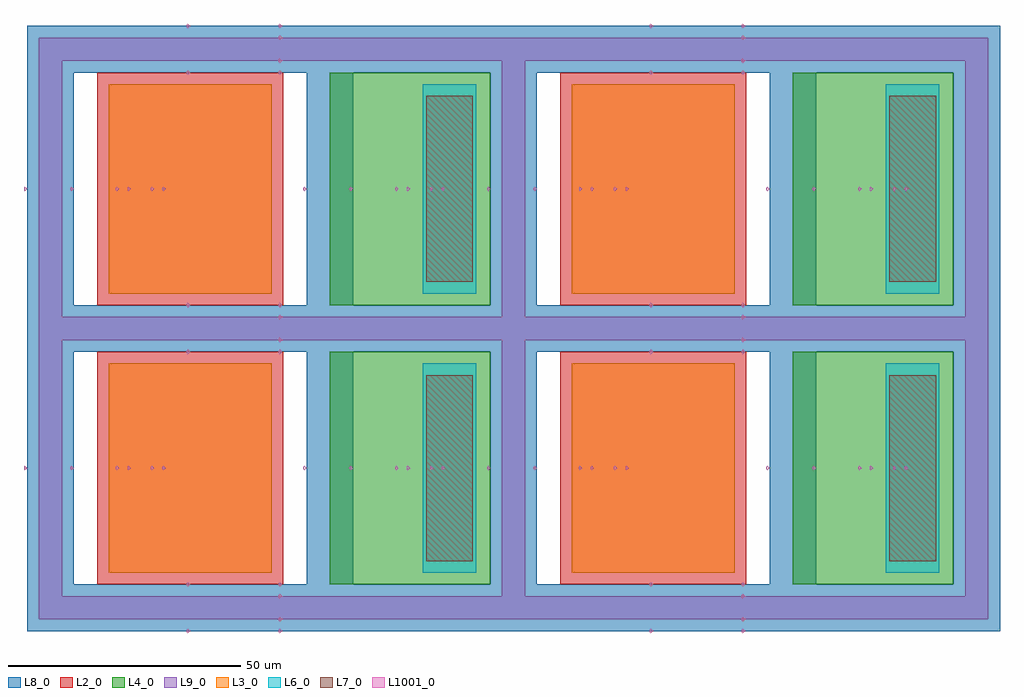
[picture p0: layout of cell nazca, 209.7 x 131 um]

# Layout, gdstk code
import gdstk
lib = gdstk.Library(unit=1e-6, precision=1e-09)
def R(c, l, rs):  # rectangles x0, y0, x1, y1
    for r in rs: c.add(gdstk.rectangle(r[:2], r[2:], *l))
def P(c, l, *ps):  # polygons
    for p in ps: c.add(gdstk.Polygon(p, *l))
L2_0 = (2, 0)
L3_0 = (3, 0)
L4_0 = (4, 0)
L6_0 = (6, 0)
L7_0 = (7, 0)
L8_0 = (8, 0)
L9_0 = (9, 0)
L1001_0 = (1001, 0)

frame_tile = lib.new_cell('Frame Tile')
P(frame_tile, L8_0, [(-25,-25),(-35,-35),(-35,35),(35,35),(35,-35),(-35,-35),(-25,-25),(25,-25),(25,25),(-25,25)])
P(frame_tile, L1001_0, [(0,25),(-0.5,24.5),(-0.5,24.75),(-0.7,24.75),(-0.7,25.25),(-0.5,25.25),(-0.5,25.5)],
  [(0,-25),(-0.5,-25.5),(-0.5,-25.25),(-0.7,-25.25),(-0.7,-24.75),(-0.5,-24.75),(-0.5,-24.5)],
  [(-25,0),(-25.5,-0.5),(-25.5,-0.25),(-25.7,-0.25),(-25.7,0.25),(-25.5,0.25),(-25.5,0.5)],
  [(25,0),(24.5,-0.5),(24.5,-0.25),(24.3,-0.25),(24.3,0.25),(24.5,0.25),(24.5,0.5)],
  [(0,35),(-0.5,34.5),(-0.5,34.75),(-0.7,34.75),(-0.7,35.25),(-0.5,35.25),(-0.5,35.5)],
  [(0,-35),(-0.5,-35.5),(-0.5,-35.25),(-0.7,-35.25),(-0.7,-34.75),(-0.5,-34.75),(-0.5,-34.5)],
  [(-35,0),(-35.5,-0.5),(-35.5,-0.25),(-35.7,-0.25),(-35.7,0.25),(-35.5,0.25),(-35.5,0.5)],
  [(35,0),(34.5,-0.5),(34.5,-0.25),(34.3,-0.25),(34.3,0.25),(34.5,0.25),(34.5,0.5)])
frame_tile.add(gdstk.Label('Frame Right External Pin', (34.7,0), layer=1002, texttype=0))
frame_tile.add(gdstk.Label('Frame Left External Pin', (-35.3,0), layer=1002, texttype=0))
frame_tile.add(gdstk.Label('Frame Bot External Pin', (-0.3,-35), layer=1002, texttype=0))
frame_tile.add(gdstk.Label('Frame Top External Pin', (-0.3,35), layer=1002, texttype=0))
frame_tile.add(gdstk.Label('Frame Right Internal Pin', (24.7,0), layer=1002, texttype=0))
frame_tile.add(gdstk.Label('Frame Left Internal Pin', (-25.3,0), layer=1002, texttype=0))
frame_tile.add(gdstk.Label('Frame Bot Internal Pin', (-0.3,-25), layer=1002, texttype=0))
frame_tile.add(gdstk.Label('Frame Top Internal Pin', (-0.3,25), layer=1002, texttype=0))

frame_tile_10 = lib.new_cell('Frame Tile_10')
P(frame_tile_10, L8_0, [(-44.75,-25),(-54.75,-35),(-54.75,35),(54.75,35),(54.75,-35),(-54.75,-35),(-44.75,-25),(44.75,-25),(44.75,25),(-44.75,25)])
P(frame_tile_10, L1001_0, [(0,25),(-0.5,24.5),(-0.5,24.75),(-0.7,24.75),(-0.7,25.25),(-0.5,25.25),(-0.5,25.5)],
  [(0,-25),(-0.5,-25.5),(-0.5,-25.25),(-0.7,-25.25),(-0.7,-24.75),(-0.5,-24.75),(-0.5,-24.5)],
  [(-25,0),(-25.5,-0.5),(-25.5,-0.25),(-25.7,-0.25),(-25.7,0.25),(-25.5,0.25),(-25.5,0.5)],
  [(25,0),(24.5,-0.5),(24.5,-0.25),(24.3,-0.25),(24.3,0.25),(24.5,0.25),(24.5,0.5)],
  [(0,35),(-0.5,34.5),(-0.5,34.75),(-0.7,34.75),(-0.7,35.25),(-0.5,35.25),(-0.5,35.5)],
  [(0,-35),(-0.5,-35.5),(-0.5,-35.25),(-0.7,-35.25),(-0.7,-34.75),(-0.5,-34.75),(-0.5,-34.5)],
  [(-35,0),(-35.5,-0.5),(-35.5,-0.25),(-35.7,-0.25),(-35.7,0.25),(-35.5,0.25),(-35.5,0.5)],
  [(35,0),(34.5,-0.5),(34.5,-0.25),(34.3,-0.25),(34.3,0.25),(34.5,0.25),(34.5,0.5)])
frame_tile_10.add(gdstk.Label('Frame Right External Pin', (34.7,0), layer=1002, texttype=0))
frame_tile_10.add(gdstk.Label('Frame Left External Pin', (-35.3,0), layer=1002, texttype=0))
frame_tile_10.add(gdstk.Label('Frame Bot External Pin', (-0.3,-35), layer=1002, texttype=0))
frame_tile_10.add(gdstk.Label('Frame Top External Pin', (-0.3,35), layer=1002, texttype=0))
frame_tile_10.add(gdstk.Label('Frame Right Internal Pin', (24.7,0), layer=1002, texttype=0))
frame_tile_10.add(gdstk.Label('Frame Left Internal Pin', (-25.3,0), layer=1002, texttype=0))
frame_tile_10.add(gdstk.Label('Frame Bot Internal Pin', (-0.3,-25), layer=1002, texttype=0))
frame_tile_10.add(gdstk.Label('Frame Top Internal Pin', (-0.3,25), layer=1002, texttype=0))

frame_tile_11 = lib.new_cell('Frame Tile_11')
P(frame_tile_11, L9_0, [(-47.25,-27.5),(-52.25,-32.5),(-52.25,32.5),(52.25,32.5),(52.25,-32.5),(-52.25,-32.5),(-47.25,-27.5),(47.25,-27.5),(47.25,27.5),(-47.25,27.5)])
P(frame_tile_11, L1001_0, [(0,27.5),(-0.5,27),(-0.5,27.25),(-0.7,27.25),(-0.7,27.75),(-0.5,27.75),(-0.5,28)],
  [(0,-27.5),(-0.5,-28),(-0.5,-27.75),(-0.7,-27.75),(-0.7,-27.25),(-0.5,-27.25),(-0.5,-27)],
  [(-27.5,0),(-28,-0.5),(-28,-0.25),(-28.2,-0.25),(-28.2,0.25),(-28,0.25),(-28,0.5)],
  [(27.5,0),(27,-0.5),(27,-0.25),(26.8,-0.25),(26.8,0.25),(27,0.25),(27,0.5)],
  [(0,32.5),(-0.5,32),(-0.5,32.25),(-0.7,32.25),(-0.7,32.75),(-0.5,32.75),(-0.5,33)],
  [(0,-32.5),(-0.5,-33),(-0.5,-32.75),(-0.7,-32.75),(-0.7,-32.25),(-0.5,-32.25),(-0.5,-32)],
  [(-32.5,0),(-33,-0.5),(-33,-0.25),(-33.2,-0.25),(-33.2,0.25),(-33,0.25),(-33,0.5)],
  [(32.5,0),(32,-0.5),(32,-0.25),(31.8,-0.25),(31.8,0.25),(32,0.25),(32,0.5)])
frame_tile_11.add(gdstk.Label('Frame Right External Pin', (32.2,0), layer=1002, texttype=0))
frame_tile_11.add(gdstk.Label('Frame Left External Pin', (-32.8,0), layer=1002, texttype=0))
frame_tile_11.add(gdstk.Label('Frame Bot External Pin', (-0.3,-32.5), layer=1002, texttype=0))
frame_tile_11.add(gdstk.Label('Frame Top External Pin', (-0.3,32.5), layer=1002, texttype=0))
frame_tile_11.add(gdstk.Label('Frame Right Internal Pin', (27.2,0), layer=1002, texttype=0))
frame_tile_11.add(gdstk.Label('Frame Left Internal Pin', (-27.8,0), layer=1002, texttype=0))
frame_tile_11.add(gdstk.Label('Frame Bot Internal Pin', (-0.3,-27.5), layer=1002, texttype=0))
frame_tile_11.add(gdstk.Label('Frame Top Internal Pin', (-0.3,27.5), layer=1002, texttype=0))

one_device = lib.new_cell('One Device')
R(one_device, L2_0, [(-20,-25,20,25)])
R(one_device, L3_0, [(-17.5,-22.5,17.5,22.5)])
R(one_device, L4_0, [(30,-25,64.5,25)])
R(one_device, L6_0, [(50,-22.5,61.5,22.5)])
R(one_device, L7_0, [(50.75,-20,60.75,20)])
one_device.add(gdstk.Reference(frame_tile, (0,0)))
one_device.add(gdstk.Reference(frame_tile_10, (19.75,0)))
one_device.add(gdstk.Reference(frame_tile_11, (19.75,0)))

frame_tile_13 = lib.new_cell('Frame Tile_13')
P(frame_tile_13, L8_0, [(-25,-25),(-35,-35),(-35,35),(35,35),(35,-35),(-35,-35),(-25,-25),(25,-25),(25,25),(-25,25)])
P(frame_tile_13, L1001_0, [(0,25),(-0.5,24.5),(-0.5,24.75),(-0.7,24.75),(-0.7,25.25),(-0.5,25.25),(-0.5,25.5)],
  [(0,-25),(-0.5,-25.5),(-0.5,-25.25),(-0.7,-25.25),(-0.7,-24.75),(-0.5,-24.75),(-0.5,-24.5)],
  [(-25,0),(-25.5,-0.5),(-25.5,-0.25),(-25.7,-0.25),(-25.7,0.25),(-25.5,0.25),(-25.5,0.5)],
  [(25,0),(24.5,-0.5),(24.5,-0.25),(24.3,-0.25),(24.3,0.25),(24.5,0.25),(24.5,0.5)],
  [(0,35),(-0.5,34.5),(-0.5,34.75),(-0.7,34.75),(-0.7,35.25),(-0.5,35.25),(-0.5,35.5)],
  [(0,-35),(-0.5,-35.5),(-0.5,-35.25),(-0.7,-35.25),(-0.7,-34.75),(-0.5,-34.75),(-0.5,-34.5)],
  [(-35,0),(-35.5,-0.5),(-35.5,-0.25),(-35.7,-0.25),(-35.7,0.25),(-35.5,0.25),(-35.5,0.5)],
  [(35,0),(34.5,-0.5),(34.5,-0.25),(34.3,-0.25),(34.3,0.25),(34.5,0.25),(34.5,0.5)])
frame_tile_13.add(gdstk.Label('Frame Right External Pin', (34.7,0), layer=1002, texttype=0))
frame_tile_13.add(gdstk.Label('Frame Left External Pin', (-35.3,0), layer=1002, texttype=0))
frame_tile_13.add(gdstk.Label('Frame Bot External Pin', (-0.3,-35), layer=1002, texttype=0))
frame_tile_13.add(gdstk.Label('Frame Top External Pin', (-0.3,35), layer=1002, texttype=0))
frame_tile_13.add(gdstk.Label('Frame Right Internal Pin', (24.7,0), layer=1002, texttype=0))
frame_tile_13.add(gdstk.Label('Frame Left Internal Pin', (-25.3,0), layer=1002, texttype=0))
frame_tile_13.add(gdstk.Label('Frame Bot Internal Pin', (-0.3,-25), layer=1002, texttype=0))
frame_tile_13.add(gdstk.Label('Frame Top Internal Pin', (-0.3,25), layer=1002, texttype=0))

frame_tile_19 = lib.new_cell('Frame Tile_19')
P(frame_tile_19, L8_0, [(-44.75,-25),(-54.75,-35),(-54.75,35),(54.75,35),(54.75,-35),(-54.75,-35),(-44.75,-25),(44.75,-25),(44.75,25),(-44.75,25)])
P(frame_tile_19, L1001_0, [(0,25),(-0.5,24.5),(-0.5,24.75),(-0.7,24.75),(-0.7,25.25),(-0.5,25.25),(-0.5,25.5)],
  [(0,-25),(-0.5,-25.5),(-0.5,-25.25),(-0.7,-25.25),(-0.7,-24.75),(-0.5,-24.75),(-0.5,-24.5)],
  [(-25,0),(-25.5,-0.5),(-25.5,-0.25),(-25.7,-0.25),(-25.7,0.25),(-25.5,0.25),(-25.5,0.5)],
  [(25,0),(24.5,-0.5),(24.5,-0.25),(24.3,-0.25),(24.3,0.25),(24.5,0.25),(24.5,0.5)],
  [(0,35),(-0.5,34.5),(-0.5,34.75),(-0.7,34.75),(-0.7,35.25),(-0.5,35.25),(-0.5,35.5)],
  [(0,-35),(-0.5,-35.5),(-0.5,-35.25),(-0.7,-35.25),(-0.7,-34.75),(-0.5,-34.75),(-0.5,-34.5)],
  [(-35,0),(-35.5,-0.5),(-35.5,-0.25),(-35.7,-0.25),(-35.7,0.25),(-35.5,0.25),(-35.5,0.5)],
  [(35,0),(34.5,-0.5),(34.5,-0.25),(34.3,-0.25),(34.3,0.25),(34.5,0.25),(34.5,0.5)])
frame_tile_19.add(gdstk.Label('Frame Right External Pin', (34.7,0), layer=1002, texttype=0))
frame_tile_19.add(gdstk.Label('Frame Left External Pin', (-35.3,0), layer=1002, texttype=0))
frame_tile_19.add(gdstk.Label('Frame Bot External Pin', (-0.3,-35), layer=1002, texttype=0))
frame_tile_19.add(gdstk.Label('Frame Top External Pin', (-0.3,35), layer=1002, texttype=0))
frame_tile_19.add(gdstk.Label('Frame Right Internal Pin', (24.7,0), layer=1002, texttype=0))
frame_tile_19.add(gdstk.Label('Frame Left Internal Pin', (-25.3,0), layer=1002, texttype=0))
frame_tile_19.add(gdstk.Label('Frame Bot Internal Pin', (-0.3,-25), layer=1002, texttype=0))
frame_tile_19.add(gdstk.Label('Frame Top Internal Pin', (-0.3,25), layer=1002, texttype=0))

frame_tile_20 = lib.new_cell('Frame Tile_20')
P(frame_tile_20, L9_0, [(-47.25,-27.5),(-52.25,-32.5),(-52.25,32.5),(52.25,32.5),(52.25,-32.5),(-52.25,-32.5),(-47.25,-27.5),(47.25,-27.5),(47.25,27.5),(-47.25,27.5)])
P(frame_tile_20, L1001_0, [(0,27.5),(-0.5,27),(-0.5,27.25),(-0.7,27.25),(-0.7,27.75),(-0.5,27.75),(-0.5,28)],
  [(0,-27.5),(-0.5,-28),(-0.5,-27.75),(-0.7,-27.75),(-0.7,-27.25),(-0.5,-27.25),(-0.5,-27)],
  [(-27.5,0),(-28,-0.5),(-28,-0.25),(-28.2,-0.25),(-28.2,0.25),(-28,0.25),(-28,0.5)],
  [(27.5,0),(27,-0.5),(27,-0.25),(26.8,-0.25),(26.8,0.25),(27,0.25),(27,0.5)],
  [(0,32.5),(-0.5,32),(-0.5,32.25),(-0.7,32.25),(-0.7,32.75),(-0.5,32.75),(-0.5,33)],
  [(0,-32.5),(-0.5,-33),(-0.5,-32.75),(-0.7,-32.75),(-0.7,-32.25),(-0.5,-32.25),(-0.5,-32)],
  [(-32.5,0),(-33,-0.5),(-33,-0.25),(-33.2,-0.25),(-33.2,0.25),(-33,0.25),(-33,0.5)],
  [(32.5,0),(32,-0.5),(32,-0.25),(31.8,-0.25),(31.8,0.25),(32,0.25),(32,0.5)])
frame_tile_20.add(gdstk.Label('Frame Right External Pin', (32.2,0), layer=1002, texttype=0))
frame_tile_20.add(gdstk.Label('Frame Left External Pin', (-32.8,0), layer=1002, texttype=0))
frame_tile_20.add(gdstk.Label('Frame Bot External Pin', (-0.3,-32.5), layer=1002, texttype=0))
frame_tile_20.add(gdstk.Label('Frame Top External Pin', (-0.3,32.5), layer=1002, texttype=0))
frame_tile_20.add(gdstk.Label('Frame Right Internal Pin', (27.2,0), layer=1002, texttype=0))
frame_tile_20.add(gdstk.Label('Frame Left Internal Pin', (-27.8,0), layer=1002, texttype=0))
frame_tile_20.add(gdstk.Label('Frame Bot Internal Pin', (-0.3,-27.5), layer=1002, texttype=0))
frame_tile_20.add(gdstk.Label('Frame Top Internal Pin', (-0.3,27.5), layer=1002, texttype=0))

one_device_12 = lib.new_cell('One Device_12')
R(one_device_12, L2_0, [(-20,-25,20,25)])
R(one_device_12, L3_0, [(-17.5,-22.5,17.5,22.5)])
R(one_device_12, L4_0, [(30,-25,64.5,25)])
R(one_device_12, L6_0, [(50,-22.5,61.5,22.5)])
R(one_device_12, L7_0, [(50.75,-20,60.75,20)])
one_device_12.add(gdstk.Reference(frame_tile_13, (0,0)))
one_device_12.add(gdstk.Reference(frame_tile_19, (19.75,0)))
one_device_12.add(gdstk.Reference(frame_tile_20, (19.75,0)))

frame_tile_22 = lib.new_cell('Frame Tile_22')
P(frame_tile_22, L8_0, [(-25,-25),(-35,-35),(-35,35),(35,35),(35,-35),(-35,-35),(-25,-25),(25,-25),(25,25),(-25,25)])
P(frame_tile_22, L1001_0, [(0,25),(-0.5,24.5),(-0.5,24.75),(-0.7,24.75),(-0.7,25.25),(-0.5,25.25),(-0.5,25.5)],
  [(0,-25),(-0.5,-25.5),(-0.5,-25.25),(-0.7,-25.25),(-0.7,-24.75),(-0.5,-24.75),(-0.5,-24.5)],
  [(-25,0),(-25.5,-0.5),(-25.5,-0.25),(-25.7,-0.25),(-25.7,0.25),(-25.5,0.25),(-25.5,0.5)],
  [(25,0),(24.5,-0.5),(24.5,-0.25),(24.3,-0.25),(24.3,0.25),(24.5,0.25),(24.5,0.5)],
  [(0,35),(-0.5,34.5),(-0.5,34.75),(-0.7,34.75),(-0.7,35.25),(-0.5,35.25),(-0.5,35.5)],
  [(0,-35),(-0.5,-35.5),(-0.5,-35.25),(-0.7,-35.25),(-0.7,-34.75),(-0.5,-34.75),(-0.5,-34.5)],
  [(-35,0),(-35.5,-0.5),(-35.5,-0.25),(-35.7,-0.25),(-35.7,0.25),(-35.5,0.25),(-35.5,0.5)],
  [(35,0),(34.5,-0.5),(34.5,-0.25),(34.3,-0.25),(34.3,0.25),(34.5,0.25),(34.5,0.5)])
frame_tile_22.add(gdstk.Label('Frame Right External Pin', (34.7,0), layer=1002, texttype=0))
frame_tile_22.add(gdstk.Label('Frame Left External Pin', (-35.3,0), layer=1002, texttype=0))
frame_tile_22.add(gdstk.Label('Frame Bot External Pin', (-0.3,-35), layer=1002, texttype=0))
frame_tile_22.add(gdstk.Label('Frame Top External Pin', (-0.3,35), layer=1002, texttype=0))
frame_tile_22.add(gdstk.Label('Frame Right Internal Pin', (24.7,0), layer=1002, texttype=0))
frame_tile_22.add(gdstk.Label('Frame Left Internal Pin', (-25.3,0), layer=1002, texttype=0))
frame_tile_22.add(gdstk.Label('Frame Bot Internal Pin', (-0.3,-25), layer=1002, texttype=0))
frame_tile_22.add(gdstk.Label('Frame Top Internal Pin', (-0.3,25), layer=1002, texttype=0))

frame_tile_28 = lib.new_cell('Frame Tile_28')
P(frame_tile_28, L8_0, [(-44.75,-25),(-54.75,-35),(-54.75,35),(54.75,35),(54.75,-35),(-54.75,-35),(-44.75,-25),(44.75,-25),(44.75,25),(-44.75,25)])
P(frame_tile_28, L1001_0, [(0,25),(-0.5,24.5),(-0.5,24.75),(-0.7,24.75),(-0.7,25.25),(-0.5,25.25),(-0.5,25.5)],
  [(0,-25),(-0.5,-25.5),(-0.5,-25.25),(-0.7,-25.25),(-0.7,-24.75),(-0.5,-24.75),(-0.5,-24.5)],
  [(-25,0),(-25.5,-0.5),(-25.5,-0.25),(-25.7,-0.25),(-25.7,0.25),(-25.5,0.25),(-25.5,0.5)],
  [(25,0),(24.5,-0.5),(24.5,-0.25),(24.3,-0.25),(24.3,0.25),(24.5,0.25),(24.5,0.5)],
  [(0,35),(-0.5,34.5),(-0.5,34.75),(-0.7,34.75),(-0.7,35.25),(-0.5,35.25),(-0.5,35.5)],
  [(0,-35),(-0.5,-35.5),(-0.5,-35.25),(-0.7,-35.25),(-0.7,-34.75),(-0.5,-34.75),(-0.5,-34.5)],
  [(-35,0),(-35.5,-0.5),(-35.5,-0.25),(-35.7,-0.25),(-35.7,0.25),(-35.5,0.25),(-35.5,0.5)],
  [(35,0),(34.5,-0.5),(34.5,-0.25),(34.3,-0.25),(34.3,0.25),(34.5,0.25),(34.5,0.5)])
frame_tile_28.add(gdstk.Label('Frame Right External Pin', (34.7,0), layer=1002, texttype=0))
frame_tile_28.add(gdstk.Label('Frame Left External Pin', (-35.3,0), layer=1002, texttype=0))
frame_tile_28.add(gdstk.Label('Frame Bot External Pin', (-0.3,-35), layer=1002, texttype=0))
frame_tile_28.add(gdstk.Label('Frame Top External Pin', (-0.3,35), layer=1002, texttype=0))
frame_tile_28.add(gdstk.Label('Frame Right Internal Pin', (24.7,0), layer=1002, texttype=0))
frame_tile_28.add(gdstk.Label('Frame Left Internal Pin', (-25.3,0), layer=1002, texttype=0))
frame_tile_28.add(gdstk.Label('Frame Bot Internal Pin', (-0.3,-25), layer=1002, texttype=0))
frame_tile_28.add(gdstk.Label('Frame Top Internal Pin', (-0.3,25), layer=1002, texttype=0))

frame_tile_29 = lib.new_cell('Frame Tile_29')
P(frame_tile_29, L9_0, [(-47.25,-27.5),(-52.25,-32.5),(-52.25,32.5),(52.25,32.5),(52.25,-32.5),(-52.25,-32.5),(-47.25,-27.5),(47.25,-27.5),(47.25,27.5),(-47.25,27.5)])
P(frame_tile_29, L1001_0, [(0,27.5),(-0.5,27),(-0.5,27.25),(-0.7,27.25),(-0.7,27.75),(-0.5,27.75),(-0.5,28)],
  [(0,-27.5),(-0.5,-28),(-0.5,-27.75),(-0.7,-27.75),(-0.7,-27.25),(-0.5,-27.25),(-0.5,-27)],
  [(-27.5,0),(-28,-0.5),(-28,-0.25),(-28.2,-0.25),(-28.2,0.25),(-28,0.25),(-28,0.5)],
  [(27.5,0),(27,-0.5),(27,-0.25),(26.8,-0.25),(26.8,0.25),(27,0.25),(27,0.5)],
  [(0,32.5),(-0.5,32),(-0.5,32.25),(-0.7,32.25),(-0.7,32.75),(-0.5,32.75),(-0.5,33)],
  [(0,-32.5),(-0.5,-33),(-0.5,-32.75),(-0.7,-32.75),(-0.7,-32.25),(-0.5,-32.25),(-0.5,-32)],
  [(-32.5,0),(-33,-0.5),(-33,-0.25),(-33.2,-0.25),(-33.2,0.25),(-33,0.25),(-33,0.5)],
  [(32.5,0),(32,-0.5),(32,-0.25),(31.8,-0.25),(31.8,0.25),(32,0.25),(32,0.5)])
frame_tile_29.add(gdstk.Label('Frame Right External Pin', (32.2,0), layer=1002, texttype=0))
frame_tile_29.add(gdstk.Label('Frame Left External Pin', (-32.8,0), layer=1002, texttype=0))
frame_tile_29.add(gdstk.Label('Frame Bot External Pin', (-0.3,-32.5), layer=1002, texttype=0))
frame_tile_29.add(gdstk.Label('Frame Top External Pin', (-0.3,32.5), layer=1002, texttype=0))
frame_tile_29.add(gdstk.Label('Frame Right Internal Pin', (27.2,0), layer=1002, texttype=0))
frame_tile_29.add(gdstk.Label('Frame Left Internal Pin', (-27.8,0), layer=1002, texttype=0))
frame_tile_29.add(gdstk.Label('Frame Bot Internal Pin', (-0.3,-27.5), layer=1002, texttype=0))
frame_tile_29.add(gdstk.Label('Frame Top Internal Pin', (-0.3,27.5), layer=1002, texttype=0))

one_device_21 = lib.new_cell('One Device_21')
R(one_device_21, L2_0, [(-20,-25,20,25)])
R(one_device_21, L3_0, [(-17.5,-22.5,17.5,22.5)])
R(one_device_21, L4_0, [(30,-25,64.5,25)])
R(one_device_21, L6_0, [(50,-22.5,61.5,22.5)])
R(one_device_21, L7_0, [(50.75,-20,60.75,20)])
one_device_21.add(gdstk.Reference(frame_tile_22, (0,0)))
one_device_21.add(gdstk.Reference(frame_tile_28, (19.75,0)))
one_device_21.add(gdstk.Reference(frame_tile_29, (19.75,0)))

frame_tile_31 = lib.new_cell('Frame Tile_31')
P(frame_tile_31, L8_0, [(-25,-25),(-35,-35),(-35,35),(35,35),(35,-35),(-35,-35),(-25,-25),(25,-25),(25,25),(-25,25)])
P(frame_tile_31, L1001_0, [(0,25),(-0.5,24.5),(-0.5,24.75),(-0.7,24.75),(-0.7,25.25),(-0.5,25.25),(-0.5,25.5)],
  [(0,-25),(-0.5,-25.5),(-0.5,-25.25),(-0.7,-25.25),(-0.7,-24.75),(-0.5,-24.75),(-0.5,-24.5)],
  [(-25,0),(-25.5,-0.5),(-25.5,-0.25),(-25.7,-0.25),(-25.7,0.25),(-25.5,0.25),(-25.5,0.5)],
  [(25,0),(24.5,-0.5),(24.5,-0.25),(24.3,-0.25),(24.3,0.25),(24.5,0.25),(24.5,0.5)],
  [(0,35),(-0.5,34.5),(-0.5,34.75),(-0.7,34.75),(-0.7,35.25),(-0.5,35.25),(-0.5,35.5)],
  [(0,-35),(-0.5,-35.5),(-0.5,-35.25),(-0.7,-35.25),(-0.7,-34.75),(-0.5,-34.75),(-0.5,-34.5)],
  [(-35,0),(-35.5,-0.5),(-35.5,-0.25),(-35.7,-0.25),(-35.7,0.25),(-35.5,0.25),(-35.5,0.5)],
  [(35,0),(34.5,-0.5),(34.5,-0.25),(34.3,-0.25),(34.3,0.25),(34.5,0.25),(34.5,0.5)])
frame_tile_31.add(gdstk.Label('Frame Right External Pin', (34.7,0), layer=1002, texttype=0))
frame_tile_31.add(gdstk.Label('Frame Left External Pin', (-35.3,0), layer=1002, texttype=0))
frame_tile_31.add(gdstk.Label('Frame Bot External Pin', (-0.3,-35), layer=1002, texttype=0))
frame_tile_31.add(gdstk.Label('Frame Top External Pin', (-0.3,35), layer=1002, texttype=0))
frame_tile_31.add(gdstk.Label('Frame Right Internal Pin', (24.7,0), layer=1002, texttype=0))
frame_tile_31.add(gdstk.Label('Frame Left Internal Pin', (-25.3,0), layer=1002, texttype=0))
frame_tile_31.add(gdstk.Label('Frame Bot Internal Pin', (-0.3,-25), layer=1002, texttype=0))
frame_tile_31.add(gdstk.Label('Frame Top Internal Pin', (-0.3,25), layer=1002, texttype=0))

frame_tile_37 = lib.new_cell('Frame Tile_37')
P(frame_tile_37, L8_0, [(-44.75,-25),(-54.75,-35),(-54.75,35),(54.75,35),(54.75,-35),(-54.75,-35),(-44.75,-25),(44.75,-25),(44.75,25),(-44.75,25)])
P(frame_tile_37, L1001_0, [(0,25),(-0.5,24.5),(-0.5,24.75),(-0.7,24.75),(-0.7,25.25),(-0.5,25.25),(-0.5,25.5)],
  [(0,-25),(-0.5,-25.5),(-0.5,-25.25),(-0.7,-25.25),(-0.7,-24.75),(-0.5,-24.75),(-0.5,-24.5)],
  [(-25,0),(-25.5,-0.5),(-25.5,-0.25),(-25.7,-0.25),(-25.7,0.25),(-25.5,0.25),(-25.5,0.5)],
  [(25,0),(24.5,-0.5),(24.5,-0.25),(24.3,-0.25),(24.3,0.25),(24.5,0.25),(24.5,0.5)],
  [(0,35),(-0.5,34.5),(-0.5,34.75),(-0.7,34.75),(-0.7,35.25),(-0.5,35.25),(-0.5,35.5)],
  [(0,-35),(-0.5,-35.5),(-0.5,-35.25),(-0.7,-35.25),(-0.7,-34.75),(-0.5,-34.75),(-0.5,-34.5)],
  [(-35,0),(-35.5,-0.5),(-35.5,-0.25),(-35.7,-0.25),(-35.7,0.25),(-35.5,0.25),(-35.5,0.5)],
  [(35,0),(34.5,-0.5),(34.5,-0.25),(34.3,-0.25),(34.3,0.25),(34.5,0.25),(34.5,0.5)])
frame_tile_37.add(gdstk.Label('Frame Right External Pin', (34.7,0), layer=1002, texttype=0))
frame_tile_37.add(gdstk.Label('Frame Left External Pin', (-35.3,0), layer=1002, texttype=0))
frame_tile_37.add(gdstk.Label('Frame Bot External Pin', (-0.3,-35), layer=1002, texttype=0))
frame_tile_37.add(gdstk.Label('Frame Top External Pin', (-0.3,35), layer=1002, texttype=0))
frame_tile_37.add(gdstk.Label('Frame Right Internal Pin', (24.7,0), layer=1002, texttype=0))
frame_tile_37.add(gdstk.Label('Frame Left Internal Pin', (-25.3,0), layer=1002, texttype=0))
frame_tile_37.add(gdstk.Label('Frame Bot Internal Pin', (-0.3,-25), layer=1002, texttype=0))
frame_tile_37.add(gdstk.Label('Frame Top Internal Pin', (-0.3,25), layer=1002, texttype=0))

frame_tile_38 = lib.new_cell('Frame Tile_38')
P(frame_tile_38, L9_0, [(-47.25,-27.5),(-52.25,-32.5),(-52.25,32.5),(52.25,32.5),(52.25,-32.5),(-52.25,-32.5),(-47.25,-27.5),(47.25,-27.5),(47.25,27.5),(-47.25,27.5)])
P(frame_tile_38, L1001_0, [(0,27.5),(-0.5,27),(-0.5,27.25),(-0.7,27.25),(-0.7,27.75),(-0.5,27.75),(-0.5,28)],
  [(0,-27.5),(-0.5,-28),(-0.5,-27.75),(-0.7,-27.75),(-0.7,-27.25),(-0.5,-27.25),(-0.5,-27)],
  [(-27.5,0),(-28,-0.5),(-28,-0.25),(-28.2,-0.25),(-28.2,0.25),(-28,0.25),(-28,0.5)],
  [(27.5,0),(27,-0.5),(27,-0.25),(26.8,-0.25),(26.8,0.25),(27,0.25),(27,0.5)],
  [(0,32.5),(-0.5,32),(-0.5,32.25),(-0.7,32.25),(-0.7,32.75),(-0.5,32.75),(-0.5,33)],
  [(0,-32.5),(-0.5,-33),(-0.5,-32.75),(-0.7,-32.75),(-0.7,-32.25),(-0.5,-32.25),(-0.5,-32)],
  [(-32.5,0),(-33,-0.5),(-33,-0.25),(-33.2,-0.25),(-33.2,0.25),(-33,0.25),(-33,0.5)],
  [(32.5,0),(32,-0.5),(32,-0.25),(31.8,-0.25),(31.8,0.25),(32,0.25),(32,0.5)])
frame_tile_38.add(gdstk.Label('Frame Right External Pin', (32.2,0), layer=1002, texttype=0))
frame_tile_38.add(gdstk.Label('Frame Left External Pin', (-32.8,0), layer=1002, texttype=0))
frame_tile_38.add(gdstk.Label('Frame Bot External Pin', (-0.3,-32.5), layer=1002, texttype=0))
frame_tile_38.add(gdstk.Label('Frame Top External Pin', (-0.3,32.5), layer=1002, texttype=0))
frame_tile_38.add(gdstk.Label('Frame Right Internal Pin', (27.2,0), layer=1002, texttype=0))
frame_tile_38.add(gdstk.Label('Frame Left Internal Pin', (-27.8,0), layer=1002, texttype=0))
frame_tile_38.add(gdstk.Label('Frame Bot Internal Pin', (-0.3,-27.5), layer=1002, texttype=0))
frame_tile_38.add(gdstk.Label('Frame Top Internal Pin', (-0.3,27.5), layer=1002, texttype=0))

one_device_30 = lib.new_cell('One Device_30')
R(one_device_30, L2_0, [(-20,-25,20,25)])
R(one_device_30, L3_0, [(-17.5,-22.5,17.5,22.5)])
R(one_device_30, L4_0, [(30,-25,64.5,25)])
R(one_device_30, L6_0, [(50,-22.5,61.5,22.5)])
R(one_device_30, L7_0, [(50.75,-20,60.75,20)])
one_device_30.add(gdstk.Reference(frame_tile_31, (0,0)))
one_device_30.add(gdstk.Reference(frame_tile_37, (19.75,0)))
one_device_30.add(gdstk.Reference(frame_tile_38, (19.75,0)))

nazca = lib.new_cell('nazca')
nazca.add(gdstk.Reference(one_device, (0,0)))
nazca.add(gdstk.Reference(one_device_12, (0,60)))
nazca.add(gdstk.Reference(one_device_21, (99.5,0)))
nazca.add(gdstk.Reference(one_device_30, (99.5,60)))

lib.write_gds('nazca.gds')
